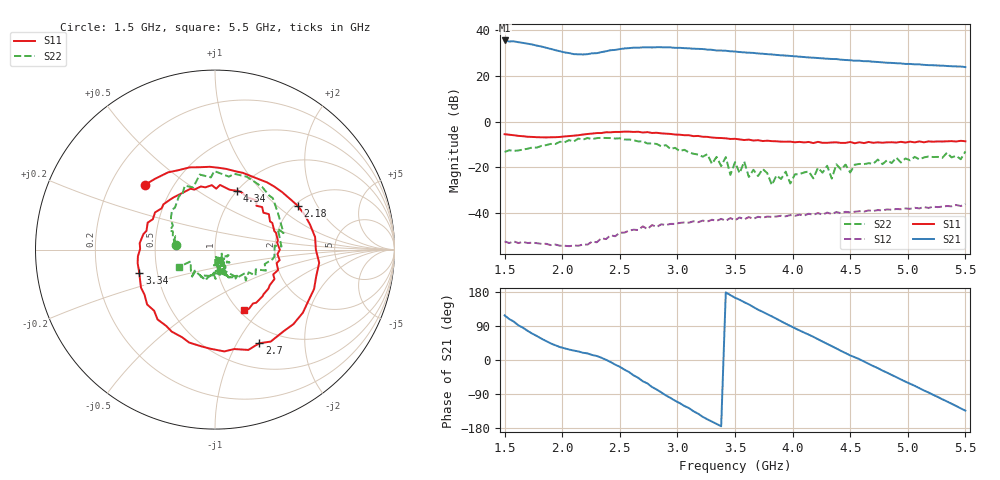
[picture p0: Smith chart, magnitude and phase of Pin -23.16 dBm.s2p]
! RsaToolbox (C) 2015 Rohde & Schwarz America
! Number of points: 101
! Number of ports: 2
! Balanced ports?: No
# Hz S RI R 50
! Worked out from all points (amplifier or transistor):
!   101 points, 1.5 GHz to 5.5 GHz, reference 50 ohm
!   highest |S21| = 35.4 dB at 1.5 GHz (marker M1)
!   |S21| within 3 dB of that: start of sweep to 1.846 GHz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
!   unconditionally stable (mu >= 1): start of sweep to end of sweep
!   at 2.14 GHz: K = 5.52, MAG = 31.4 dB, |S12| = -54.2 dB
!   at 3.5 GHz: K = 1.88, MAG = 31.4 dB, |S12| = -43.1 dB
!   at 5.5 GHz: K = 1.74, MAG = 24.9 dB, |S12| = -36.0 dB
!   S11 on the Smith chart (normalised r, x): 1.5 GHz: 0.35, +0.35; 2.18 GHz: 2.07, +1.39; 2.7 GHz: 0.79, -1.24; 3.34 GHz: 0.40, -0.13; 4.34 GHz: 1.00, +0.75; 5.5 GHz: 1.06, -0.82
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1.5e9  -0.3875 0.3627  -27.44 52.04  0.00159 -0.00184  -0.2159 0.0272
1.58e9  -0.2615 0.4304  -11 55.13  0.00116 -0.00214  -0.2269 0.034
1.66e9  -0.14 0.4583  4.419 51.84  0.000682 -0.00228  -0.235 0.071
1.82e9  0.063 0.4495  24.04 36.08  -0.0001 -0.00214  -0.2453 0.1646
1.98e9  0.2441 0.3923  28.34 19.21  -0.000552 -0.00188  -0.1987 0.303
2.18e9  0.4599 0.245  27.48 9.527  -0.000523 -0.00202  -0.0224 0.4023
2.34e9  0.562 -4.86e-05  32.53 3.439  -0.00107 -0.00265  0.1759 0.4065
2.5e9  0.5186 -0.2895  36.24 -11.65  -0.00228 -0.00299  0.3218 0.2869
2.58e9  0.4369 -0.4153  34.03 -21.06  -0.003 -0.00292  0.3506 0.204
2.7e9  0.2468 -0.5216  23.1 -34.46  -0.00447 -0.00263  0.3704 0.0168
2.86e9  -0.0234 -0.5528  3.262 -41.77  -0.00567 -0.000942  0.2767 -0.0807
3.02e9  -0.241 -0.457  -16.34 -37.2  -0.00592 0.00167  0.1873 -0.1267
3.14e9  -0.3392 -0.3405  -27.65 -27.33  -0.00596 0.00305  0.1148 -0.1616
3.34e9  -0.4212 -0.1311  -34.84 -6.994  -0.00384 0.00564  0.0748 -0.1524
3.5e9  -0.4194 0.0363  -32.47 9.122  -0.002 0.00674  0.0192 -0.1284
3.82e9  -0.2504 0.2782  -12.39 26.34  0.00291 0.00782  0.00412 -0.0412
4.18e9  0.0066 0.3396  11.92 21.7  0.00825 0.00417  -0.00029 -0.0577
4.34e9  0.123 0.3278  18.62 13.83  0.00949 0.00153  0.0224 -0.0523
4.58e9  0.2625 0.2371  21.24 0.7883  0.0106 -0.00334  0.0574 -0.1045
4.86e9  0.3505 0.0511  14.71 -12.11  0.00714 -0.00955  -0.0138 -0.1235
5.22e9  0.3048 -0.1985  -0.5655 -16.94  -0.00113 -0.0139  -0.0833 -0.1462
5.5e9  0.1614 -0.3351  -10.65 -11.17  -0.00913 -0.0129  -0.2009 -0.0965
